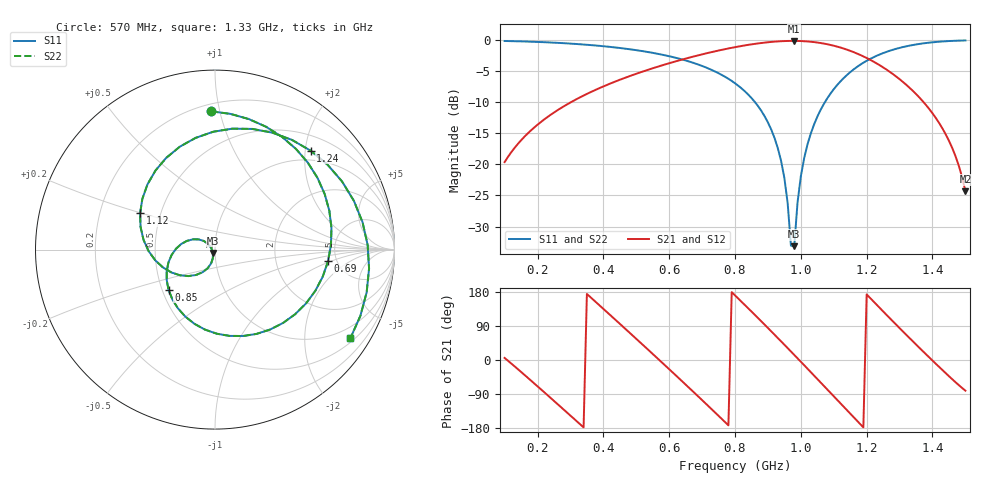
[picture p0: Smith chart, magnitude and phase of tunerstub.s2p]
! https://github.com/szoftveres
# Hz S RI R 50
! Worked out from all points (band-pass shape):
!   141 points, 100 MHz to 1.5 GHz, reference 50 ohm
!   highest |S21| = -0.14 dB at 980 MHz (marker M1); lowest = -24.3 dB at 1.5 GHz (marker M2)
!   |S21| within 3 dB of the highest: 639.4 MHz to 1.209 GHz (569.9 MHz wide, 61.7 % of centre)
!   lowest |S11| = -33.2 dB at 980 MHz (marker M3), VSWR 1.04, Z = 48.8 - j1.82 ohm
!   |S11| at or under -10 dB: 860.8 MHz to 1.073 GHz (212.3 MHz wide, 22 % of centre)
!   |S22| runs from -33.2 to -0.1 dB; largest |S21 - S12| = 0
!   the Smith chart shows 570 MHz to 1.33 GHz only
!   S11 on the Smith chart (normalised r, x): 570 MHz: 0.25, +0.94; 690 MHz: 4.24, -0.91; 850 MHz: 0.54, -0.27; 1.12 GHz: 0.38, +0.20; 1.24 GHz: 0.79, +2.11; 1.33 GHz: 0.62, -3.25
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1e8  -0.2052 0.961  0.1038 0.00993  0.1038 0.00993  -0.2052 0.961
1.5e8  0.4423 0.8697  0.1333 -0.0814  0.1333 -0.0814  0.4423 0.8697
2.2e8  0.9508 0.1396  0.021 -0.2286  0.021 -0.2286  0.9508 0.1396
2.7e8  0.8131 -0.4846  -0.1554 -0.2359  -0.1554 -0.2359  0.8131 -0.4846
3.4e8  0.0682 -0.918  -0.3576 -0.0132  -0.3576 -0.0132  0.0682 -0.918
4.5e8  -0.856 -0.111  -0.047 0.4768  -0.047 0.4768  -0.856 -0.111
5.7e8  -0.0214 0.7703  0.616 -0.000211  0.616 -0.000211  -0.0214 0.7703
6.3e8  0.5172 0.4844  0.4544 -0.5136  0.4544 -0.5136  0.5172 0.4844
6.9e8  0.6298 -0.0644  -0.0992 -0.7489  -0.0992 -0.7489  0.6298 -0.0644
8e8  -0.0558 -0.4457  -0.8648 0.1421  -0.8648 0.1421  -0.0558 -0.4457
8.5e8  -0.2589 -0.2231  -0.5679 0.7279  -0.5679 0.7279  -0.2589 -0.2231
9.1e8  -0.1883 0.0311  0.2375 0.9359  0.2375 0.9359  -0.1883 0.0311
9.8e8  -0.0117 -0.0186  0.9569 0.2301  0.9569 0.2301  -0.0117 -0.0186
1e9  -0.0217 -0.0771  0.9783 -0.0771  0.9783 -0.0771  -0.0217 -0.0771
1.04e9  -0.1478 -0.1475  0.7285 -0.6293  0.7285 -0.6293  -0.1478 -0.1475
1.12e9  -0.4173 0.2024  -0.3545 -0.7956  -0.3545 -0.7956  -0.4173 0.2024
1.18e9  -0.1081 0.6225  -0.7455 -0.148  -0.7455 -0.148  -0.1081 0.6225
1.24e9  0.5327 0.5512  -0.4595 0.4259  -0.4595 0.4259  0.5327 0.5512
1.27e9  0.7738 0.2718  -0.1948 0.5205  -0.1948 0.5205  0.7738 0.2718
1.33e9  0.7548 -0.4928  0.219 0.3516  0.219 0.3516  0.7548 -0.4928
1.41e9  -0.1929 -0.9452  0.2329 -0.0404  0.2329 -0.0404  -0.1929 -0.9452
1.5e9  -0.9904 -0.0601  0.00963 -0.0601  0.00963 -0.0601  -0.9904 -0.0601
